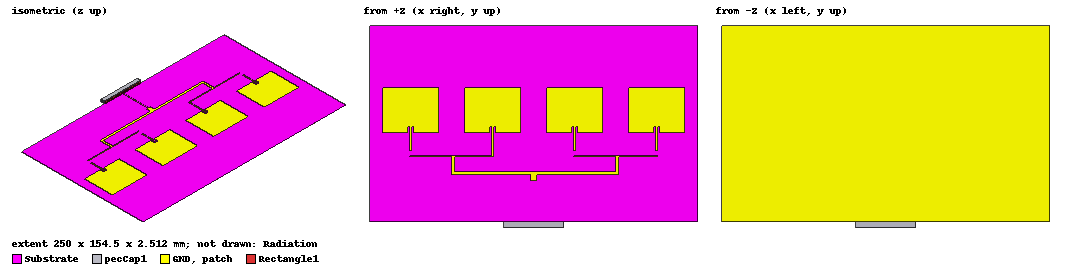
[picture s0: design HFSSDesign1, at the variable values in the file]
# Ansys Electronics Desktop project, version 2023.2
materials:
  vacuum: permittivity=1
  copper: permeability=0.999991 conductivity=58000000
  polyimide - JLC: permittivity=3.3 dielectric_loss_tangent=0.008
  air: permittivity=1.0006 permeability=1.0000004
  pec: conductivity=1e+30

design HFSSDesign1 (HFSS, HFSS Modal Network, model units mm)
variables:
  wqwt = 0.62mm
  lambda = 125mm
  t = 1mm
  w = 42.624646mm
  l = 34.401747mm
  wbase = 4.5mm
  t1 = 2.25mm
  t2 = 2.25mm
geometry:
  GND [copper] = box(corner=(-lambda, -50mm, 0mm), size=(2*lambda, 150mm, 0.012mm))
  Substrate [polyimide - JLC] = box(corner=(-lambda, -50mm, 0.012mm), size=(lambda*2, 150mm, 0.025mm))
  quarterwavetransformer = box(corner=(-wqwt/2, -50mm, 0.037mm), size=(wqwt, lambda/4, 0.012mm))
  patch [copper] = box(corner=(-w/2, -l/2, 0.037mm), size=(w, l, 0.012mm))
  cut = box(corner=(-2*t, -(l/2-5mm), 0.037mm), size=(4*t, -5mm, 0.012mm))
  patch.subtract(cut)
  feed = box(corner=(-t/2, -30.75mm, 0.037mm), size=(t, 30.75mm, 0.012mm))
  patch.unite(feed)
  patch.move(-3*lambda/4, 20mm, 0mm)
  BaseFeed = box(corner=(-wbase /2, lambda/4-50mm, 0.037mm), size=(wbase, 5mm, 0.012mm))
  BaseFeed.unite(quarterwavetransformer)
  Second_Feed = box(corner=(-lambda/2, -13.75mm, 0.037mm), size=(lambda+t1, 2.25mm, 0.012mm))
  patch1 = box(corner=(-w/2, -l/2, 0.037mm), size=(w, l, 0.012mm))
  cut1 = box(corner=(-2*t, -(l/2-5mm), 0.037mm), size=(4*t, -5mm, 0.012mm))
  patch1.subtract(cut1)
  feed1 = box(corner=(-t/2, -34mm, 0.037mm), size=(t, 34mm, 0.012mm))
  patch1.unite(feed1)
  patch1.move(-lambda/2, 20mm, 0mm)
  patch1.move(3*lambda/4, 0mm, 0mm)
  Rectangle1 = rectangle(corner=(-5*wbase, -50mm, 0.012mm), z_size=2.5mm, x_size=10*wbase)
  Radiation [air] = box(corner=(-200mm, -200mm, -100mm), size=(400mm, 400mm, 200mm))
  pecCap1 [pec] = sweep_along_normal(Rectangle1.face(at (0, -50, 1.262)), length=-4.5mm)
  patch1.move(-lambda/2, 0mm, 0mm)
  [patch, patch1].move(0mm, 15mm, 0mm)
  Box1 = box(corner=(-62.5mm, -11.5mm, 0.037mm), size=(t2, 11.5mm, 0.012mm))
  ThirdFeed = box(corner=(-3*lambda/4-t/2, 0mm, 0.037mm), size=(lambda/2+t, 1mm, 0.012mm))
  ThirdFeed.unite(Box1)
  ThirdFeed1 = box(corner=(-3*lambda/4-t/2, 0mm, 0.037mm), size=(lambda/2+t, 1mm, 0.012mm))
  Box2 = box(corner=(-62.5mm, -11.5mm, 0.037mm), size=(t2, 11.5mm, 0.012mm))
  ThirdFeed1.unite(Box2)
  ThirdFeed1.move(lambda, 0mm, 0mm)
  patch2 = box(corner=(-w/2, -l/2, 0.037mm), size=(w, l, 0.012mm))
  cut2 = box(corner=(-2*t, -(l/2-5mm), 0.037mm), size=(4*t, -5mm, 0.012mm))
  patch2.subtract(cut2)
  feed2 = box(corner=(-t/2, -30.75mm, 0.037mm), size=(t, 30.75mm, 0.012mm))
  patch2.unite(feed2)
  patch2.move(-lambda/2, 20mm, 0mm)
  patch2.move(3*lambda/4, 0mm, 0mm)
  patch2.move(-lambda/2, 0mm, 0mm)
  patch2.move(0mm, 15mm, 0mm)
  patch3 = box(corner=(-w/2, -l/2, 0.037mm), size=(w, l, 0.012mm))
  cut3 = box(corner=(-2*t, -(l/2-5mm), 0.037mm), size=(4*t, -5mm, 0.012mm))
  patch3.subtract(cut3)
  feed3 = box(corner=(-t/2, -30.75mm, 0.037mm), size=(t, 30.75mm, 0.012mm))
  patch3.unite(feed3)
  patch3.move(-lambda/2, 20mm, 0mm)
  patch3.move(3*lambda/4, 0mm, 0mm)
  patch3.move(-lambda/2, 0mm, 0mm)
  patch3.move(0mm, 15mm, 0mm)
  patch2.move(lambda/2, 0mm, 0mm)
  patch3.move(lambda, 0mm, 0mm)
  patch.unite(patch1, patch2, patch3, ThirdFeed, ThirdFeed1, Second_Feed, BaseFeed)
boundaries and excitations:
  PerfE1: Perfect E Objects=patch
  Rad1: Radiation Objects=Radiation
  PerfE3: Perfect E Objects=GND
  1: Wave Port Objects=Rectangle1 WavePortType=Modal NumModes=1 Modes{Mode1{CharImp=Zpi}}
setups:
  Setup1: HfssDriven Frequency=2.4GHz MaxDeltaS=0.02 MaximumPasses=6 MinimumPasses=1 MinimumConvergedPasses=1 PercentRefinement=30 BasisOrder=1 PortAccuracy=2 DrivenSolverType="Direct Solver"
    sweep Sweep: 1.2GHz to 3.6GHz, 401 points; Type=Fast SaveFields
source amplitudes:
  1:1: 1V 0deg
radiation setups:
  Infinite Sphere1: Infinite Sphere Theta=-180deg..180deg step 2deg Phi=0deg..90deg step 90deg
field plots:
  Mag_E1, Mag_E2: E Field over patch.face(all 78) on Setup1 : Sweep at Freq=2.19GHz Phase=0deg
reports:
  S Parameter Plot 1: dB(S(1,1)) vs Freq on Setup1 : Sweep; markers m1 at 2.19GHz
